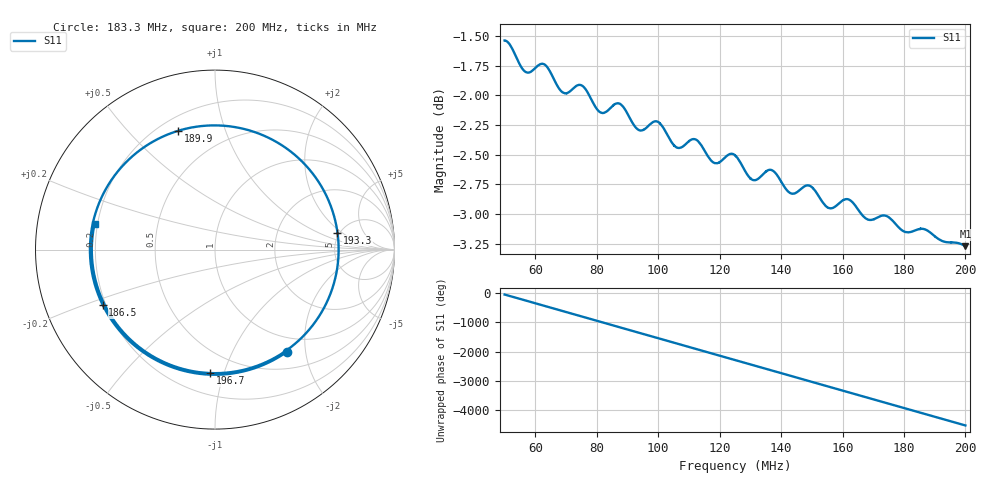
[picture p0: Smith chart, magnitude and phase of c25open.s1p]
! COPPER MOUNTAIN TECHNOLOGIES, PLANAR TR1300/1, 00071119, 20.2.2/1.0
! Date: 12/11/2023 3:11:24 PM
! Data: Format [Calibration Info]
! Freq  S11: Re/Im F1
# HZ S RI R 50
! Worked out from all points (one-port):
!   12288 points, 50 MHz to 200 MHz, reference 50 ohm
!   lowest |S11| = -3.3 dB at 200 MHz (marker M1), VSWR 5.37, Z = 9.42 + j5.36 ohm
!   |S11| at or under -10 dB: nowhere
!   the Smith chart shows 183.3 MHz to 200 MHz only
!   S11 on the Smith chart (normalised r, x): 183.3 MHz: 0.75, -1.66; 186.5 MHz: 0.19, -0.23; 189.9 MHz: 0.27, +0.70; 193.3 MHz: 4.78, +1.73; 196.7 MHz: 0.34, -0.90; 200 MHz: 0.19, +0.10
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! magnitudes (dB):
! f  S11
! 50 MHz  -1.5
! 56.43 MHz  -1.8
! 62.92 MHz  -1.7
! 68.75 MHz  -2.0
! 75.1 MHz  -1.9
! 81.67 MHz  -2.1
! 87.5 MHz  -2.1
! 93.28 MHz  -2.3
! 99.83 MHz  -2.2
! 106.3 MHz  -2.4
! 111.8 MHz  -2.4
! 118.3 MHz  -2.6
! 125 MHz  -2.5
! 130.4 MHz  -2.7
! 136.9 MHz  -2.6
! 143.8 MHz  -2.8
! 149.3 MHz  -2.8
! 155.9 MHz  -3.0
! 162.5 MHz  -2.9
! 167.9 MHz  -3.0
! 181.3 MHz  -3.2
! 183.3 MHz  -3.1
! 186.5 MHz  -3.1
! 189.9 MHz  -3.2
! 193.3 MHz  -3.2
! 196.7 MHz  -3.2
! 200 MHz  -3.3
! 200 MHz  -3.3
